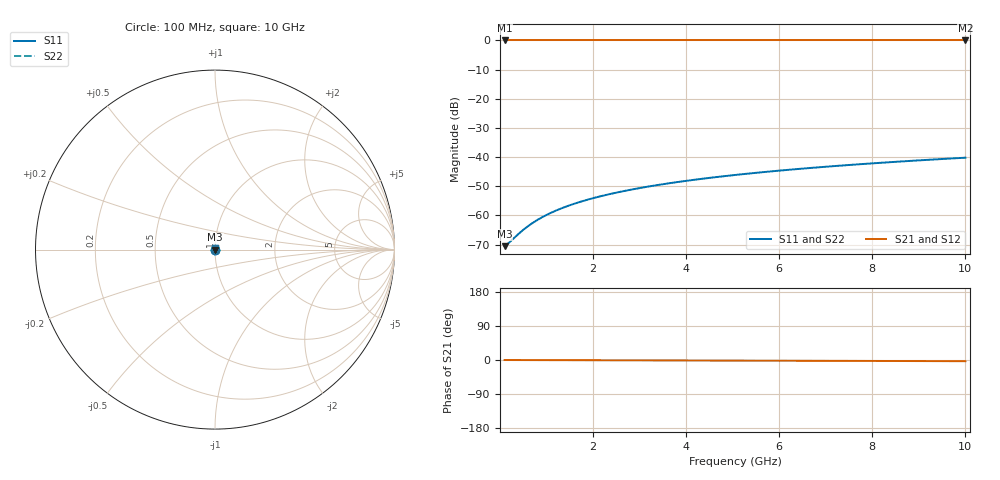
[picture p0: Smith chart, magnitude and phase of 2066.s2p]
# Hz S RI R 50.00
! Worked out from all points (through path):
!   100 points, 100 MHz to 10 GHz, reference 50 ohm
!   highest |S21| = 0.00 dB at 100 MHz (marker M1); lowest = 0.0 dB at 10 GHz (marker M2)
!   lowest |S11| = -70.6 dB at 100 MHz (marker M3), VSWR 1.00, Z = 50 + j0.00973 ohm
!   |S11| at or under -10 dB: start of sweep to end of sweep
!   |S22| runs from -70.6 to -40.2 dB; largest |S21 - S12| = 0
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1e8  0.00028 9.73e-05  0.9997 -0.000541  0.9997 -0.000541  0.00028 9.73e-05
2e8  0.000282 0.000195  0.9997 -0.00108  0.9997 -0.00108  0.000282 0.000195
4e8  0.000284 0.000389  0.9997 -0.00217  0.9997 -0.00217  0.000284 0.000389
5e8  0.000286 0.000486  0.9997 -0.00271  0.9997 -0.00271  0.000286 0.000486
6e8  0.000287 0.000584  0.9997 -0.00325  0.9997 -0.00325  0.000287 0.000584
7e8  0.000288 0.000681  0.9997 -0.00379  0.9997 -0.00379  0.000288 0.000681
8e8  0.000289 0.000778  0.9997 -0.00433  0.9997 -0.00433  0.000289 0.000778
1e9  0.000292 0.000973  0.9997 -0.00541  0.9997 -0.00541  0.000292 0.000973
1.2e9  0.000295 0.00117  0.9997 -0.0065  0.9997 -0.0065  0.000295 0.00117
1.5e9  0.0003 0.00146  0.9997 -0.00812  0.9997 -0.00812  0.0003 0.00146
1.8e9  0.000306 0.00175  0.9997 -0.00975  0.9997 -0.00975  0.000306 0.00175
2.1e9  0.000313 0.00204  0.9996 -0.0114  0.9996 -0.0114  0.000313 0.00204
2.5e9  0.000324 0.00243  0.9996 -0.0135  0.9996 -0.0135  0.000324 0.00243
2.9e9  0.000336 0.00282  0.9996 -0.0157  0.9996 -0.0157  0.000336 0.00282
3.4e9  0.000353 0.0033  0.9995 -0.0184  0.9995 -0.0184  0.000353 0.0033
4.2e9  0.000386 0.00408  0.9994 -0.0228  0.9994 -0.0228  0.000386 0.00408
5.1e9  0.000432 0.00495  0.9993 -0.0276  0.9993 -0.0276  0.000432 0.00495
5.9e9  0.000479 0.00573  0.9992 -0.032  0.9992 -0.032  0.000479 0.00573
6.7e9  0.000533 0.00651  0.999 -0.0363  0.999 -0.0363  0.000533 0.00651
7.5e9  0.000594 0.00728  0.9988 -0.0407  0.9988 -0.0407  0.000594 0.00728
8.4e9  0.000671 0.00816  0.9986 -0.0456  0.9986 -0.0456  0.000671 0.00816
1e10  0.00083 0.00971  0.9981 -0.0543  0.9981 -0.0543  0.00083 0.00971
